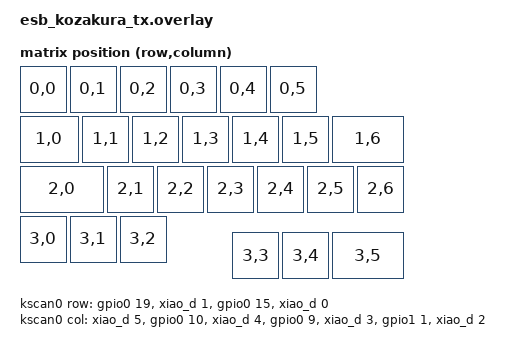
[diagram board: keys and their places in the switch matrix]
/*
 * ESB TX on the real koZakura48 left-half PCB.
 *
 * Matrix wiring copied from zmk-config-koZakura (shield
 * "koZakura48", koZakura48.dtsi): 4 rows x 7 cols, col2row, with
 * two columns on the NFC pins (P0.09/P0.10, see Kconfig.defconfig).
 * Only the left half is scanned: this firmware is a single XIAO
 * acting as the whole keyboard over the ESB link (no ZMK split).
 *
 * Omissions versus the original shield, to keep in step with the
 * other standalone ESB TX shields (e.g. esb_nickey_tx):
 * - PMW3610 trackball (SPI0): not carried over. Pointing stays
 *   enabled only because the keymap has &mkp bindings.
 * - Rotary encoder and the rgbled_adapter RGB widget: not carried
 *   over (the widget module is not part of this config's west
 *   manifest, and neither is needed for a keys-only ESB test TX).
 *
 * SPDX-License-Identifier: MIT
 */

#include <dt-bindings/zmk/matrix_transform.h>
#include <physical_layouts.dtsi>

/ {
    chosen {
        zmk,physical-layout = <&physical_layout0>;
    };

    kscan0: kscan {
        compatible = "zmk,kscan-gpio-matrix";
        debounce-press-ms = <10>;
        debounce-release-ms = <20>;
        diode-direction = "col2row";
        wakeup-source;

        row-gpios
            = <&gpio0 19 (GPIO_ACTIVE_HIGH | GPIO_PULL_DOWN)>
            , <&xiao_d 1 (GPIO_ACTIVE_HIGH | GPIO_PULL_DOWN)>
            , <&gpio0 15 (GPIO_ACTIVE_HIGH | GPIO_PULL_DOWN)>
            , <&xiao_d 0 (GPIO_ACTIVE_HIGH | GPIO_PULL_DOWN)>
            ;

        col-gpios
            = <&xiao_d 5 GPIO_ACTIVE_HIGH>
            , <&gpio0 10 GPIO_ACTIVE_HIGH>
            , <&xiao_d 4 GPIO_ACTIVE_HIGH>
            , <&gpio0 9 GPIO_ACTIVE_HIGH>
            , <&xiao_d 3 GPIO_ACTIVE_HIGH>
            , <&gpio1 1 GPIO_ACTIVE_HIGH>
            , <&xiao_d 2 GPIO_ACTIVE_HIGH>
            ;
    };

    /* Left half of the koZakura48 transform: 4 rows x 7 cols,
     * 26 keys. The original map skips RC(0,6): the top row has
     * only 6 keys per half, and the bottom row has no RC(3,6). */
    default_transform: matrix_transform {
        compatible = "zmk,matrix-transform";
        columns = <7>;
        rows = <4>;
        map = <
            RC(0,0) RC(0,1) RC(0,2) RC(0,3) RC(0,4) RC(0,5)
            RC(1,0) RC(1,1) RC(1,2) RC(1,3) RC(1,4) RC(1,5) RC(1,6)
            RC(2,0) RC(2,1) RC(2,2) RC(2,3) RC(2,4) RC(2,5) RC(2,6)
            RC(3,0) RC(3,1) RC(3,2) RC(3,3) RC(3,4) RC(3,5)
        >;
    };

    physical_layout0: physical_layout_0 {
        compatible = "zmk,physical-layout";
        display-name = "koZakura48 Left";
        kscan = <&kscan0>;
        transform = <&default_transform>;

        keys  //                     w   h    x    y     rot    rx    ry
            = <&key_physical_attrs 100 100    0    0       0     0     0>
            , <&key_physical_attrs 100 100  100    0       0     0     0>
            , <&key_physical_attrs 100 100  200    0       0     0     0>
            , <&key_physical_attrs 100 100  300    0       0     0     0>
            , <&key_physical_attrs 100 100  400    0       0     0     0>
            , <&key_physical_attrs 100 100  500    0       0     0     0>
            , <&key_physical_attrs 125 100    0  100       0     0     0>
            , <&key_physical_attrs 100 100  125  100       0     0     0>
            , <&key_physical_attrs 100 100  225  100       0     0     0>
            , <&key_physical_attrs 100 100  325  100       0     0     0>
            , <&key_physical_attrs 100 100  425  100       0     0     0>
            , <&key_physical_attrs 100 100  525  100       0     0     0>
            , <&key_physical_attrs 150 100  625  100       0     0     0>
            , <&key_physical_attrs 175 100    0  200       0     0     0>
            , <&key_physical_attrs 100 100  175  200       0     0     0>
            , <&key_physical_attrs 100 100  275  200       0     0     0>
            , <&key_physical_attrs 100 100  375  200       0     0     0>
            , <&key_physical_attrs 100 100  475  200       0     0     0>
            , <&key_physical_attrs 100 100  575  200       0     0     0>
            , <&key_physical_attrs 100 100  675  200       0     0     0>
            , <&key_physical_attrs 100 100    0  300       0     0     0>
            , <&key_physical_attrs 100 100  100  300       0     0     0>
            , <&key_physical_attrs 100 100  200  300       0     0     0>
            , <&key_physical_attrs 100 100  425  333       0     0     0>
            , <&key_physical_attrs 100 100  525  333       0     0     0>
            , <&key_physical_attrs 150 100  625  333       0     0     0>
            ;
    };
};
